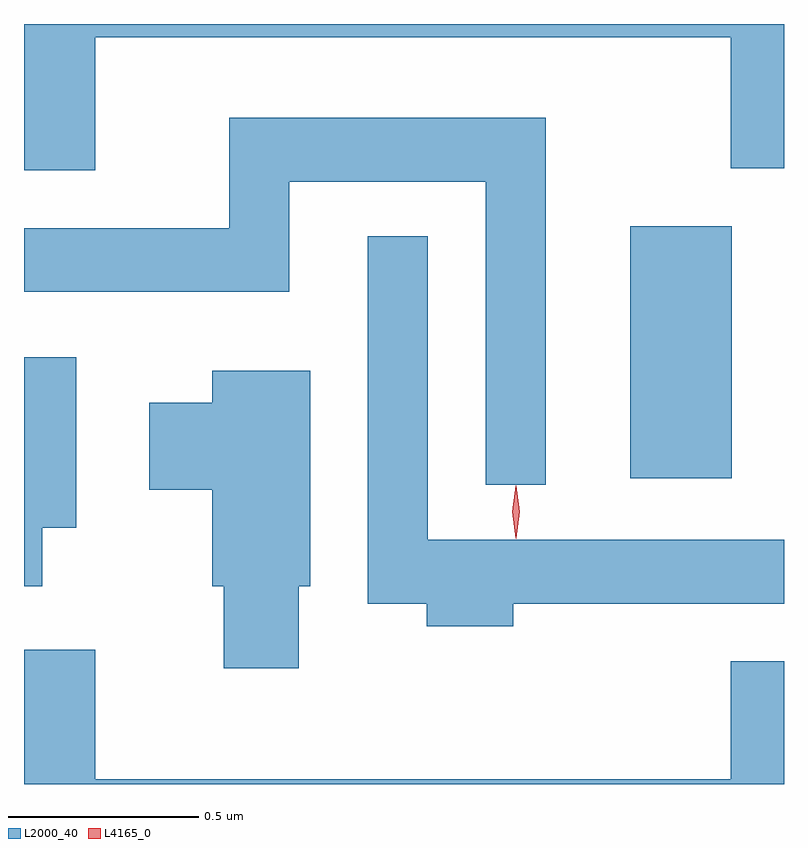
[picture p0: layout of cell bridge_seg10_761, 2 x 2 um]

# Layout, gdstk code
import gdstk
lib = gdstk.Library(unit=1e-6, precision=1e-09)
def R(c, l, rs):  # rectangles x0, y0, x1, y1
    for r in rs: c.add(gdstk.rectangle(r[:2], r[2:], *l))
def P(c, l, *ps):  # polygons
    for p in ps: c.add(gdstk.Polygon(p, *l))
L2000_40 = (2000, 40)
L4165_0 = (4165, 0)

bridge_seg10_761 = lib.new_cell('bridge_seg10_761')
R(bridge_seg10_761, L2000_40, [(1046.276,2099.436,1046.544,2100.099)])
P(bridge_seg10_761, L2000_40, [(1044.869,2100.596),(1046.541,2100.596),(1046.541,2100.251),(1046.681,2100.251),(1046.681,2100.631),(1044.681,2100.631),(1044.681,2100.246),(1044.869,2100.246)],
  [(1046.054,2100.384),(1045.221,2100.384),(1045.221,2100.094),(1044.681,2100.094),(1044.681,2099.926),(1045.379,2099.926),(1045.379,2100.216),(1045.896,2100.216),(1045.896,2099.418),(1046.054,2099.418)],
  [(1045.969,2099.106),(1046.681,2099.106),(1046.681,2099.274),(1045.744,2099.274),(1045.744,2100.073),(1045.586,2100.073),(1045.586,2099.106),(1045.741,2099.106),(1045.741,2099.046),(1045.969,2099.046)],
  [(1044.729,2099.306),(1044.819,2099.306),(1044.819,2099.754),(1044.681,2099.754),(1044.681,2099.151),(1044.729,2099.151)],
  [(1045.404,2099.151),(1045.434,2099.151),(1045.434,2099.719),(1045.176,2099.719),(1045.176,2099.634),(1045.011,2099.634),(1045.011,2099.406),(1045.176,2099.406),(1045.176,2099.151),(1045.206,2099.151),(1045.206,2098.936),(1045.404,2098.936)],
  [(1046.681,2098.954),(1046.541,2098.954),(1046.541,2098.644),(1044.869,2098.644),(1044.869,2098.984),(1044.681,2098.984),(1044.681,2098.631),(1046.681,2098.631)])
P(bridge_seg10_761, L4165_0, [(1045.976,2099.277),(1045.975,2099.278),(1045.966,2099.347),(1045.975,2099.416),(1045.976,2099.416),(1045.976,2099.416),(1045.986,2099.347),(1045.976,2099.278)])

lib.write_gds('bridge_seg10_761.gds')
